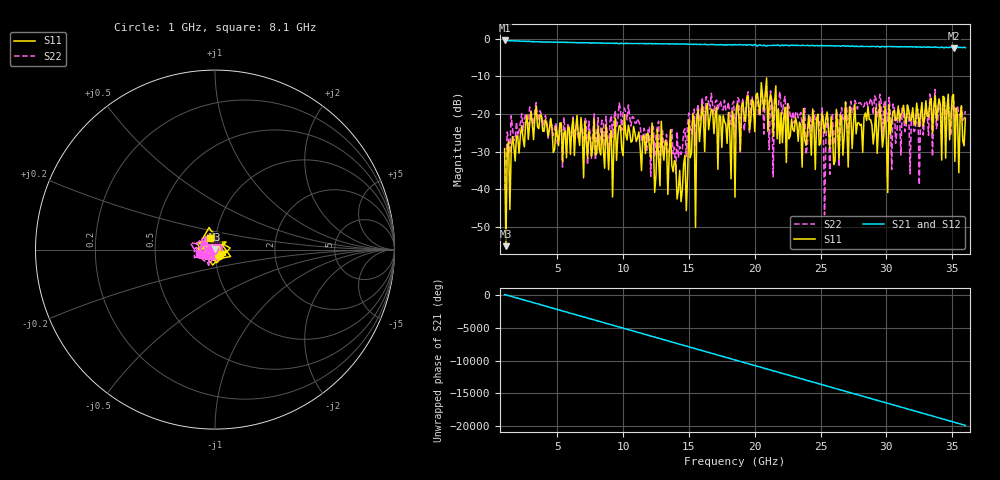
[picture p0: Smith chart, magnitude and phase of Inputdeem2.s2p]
!  2-Port S-parameters saved by WinCal
! VAR NAME=Inputdeem2 2
! VAR DATE=7/8/2025 1:03:28 PM
! VAR FILENAME=Inputdeem2.s2p
# Hz S MA R 50
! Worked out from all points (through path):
!   351 points, 1 GHz to 36 GHz, reference 50 ohm
!   highest |S21| = -0.40 dB at 1 GHz (marker M1); lowest = -2.4 dB at 35.1 GHz (marker M2)
!   lowest |S11| = -55.2 dB at 1.1 GHz (marker M3), VSWR 1.00, Z = 49.9 + j0.0935 ohm
!   |S11| at or under -10 dB: start of sweep to end of sweep
!   |S22| runs from -46.9 to -12.6 dB; largest |S21 - S12| = 0
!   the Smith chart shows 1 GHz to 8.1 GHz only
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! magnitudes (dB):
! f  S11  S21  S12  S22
! 1 GHz  -29.2  -0.4  -0.4  -40.2
! 1.1 GHz  -55.2  -0.4  -0.4  -33.6
! 1.3 GHz  -27.4  -0.4  -0.4  -26.9
! 6.9 GHz  -24.9  -1.0  -1.0  -25.0
! 12.7 GHz  -32.2  -1.3  -1.3  -21.9
! 14.8 GHz  -45.8  -1.4  -1.4  -31.4
! 15.3 GHz  -20.0  -1.4  -1.4  -19.6
! 15.5 GHz  -50.2  -1.4  -1.4  -28.4
! 15.7 GHz  -18.9  -1.5  -1.5  -17.4
! 18.3 GHz  -19.2  -1.6  -1.6  -17.5
! 18.5 GHz  -42.2  -1.5  -1.5  -26.4
! 18.7 GHz  -17.2  -1.6  -1.6  -15.7
! 24.4 GHz  -18.7  -1.7  -1.7  -20.4
! 25.2 GHz  -22.0  -1.8  -1.8  -20.6
! 25.3 GHz  -25.1  -1.8  -1.8  -46.9
! 25.5 GHz  -19.5  -1.8  -1.8  -19.9
! 29.9 GHz  -17.8  -2.1  -2.1  -16.4
! 30.1 GHz  -40.9  -2.0  -2.0  -22.0
! 30.2 GHz  -17.6  -2.0  -2.0  -15.6
! 32.5 GHz  -23.3  -2.1  -2.1  -38.9
! 35.1 GHz  -14.8  -2.4  -2.4  -16.5
! 36 GHz  -21.1  -2.3  -2.3  -19.2
